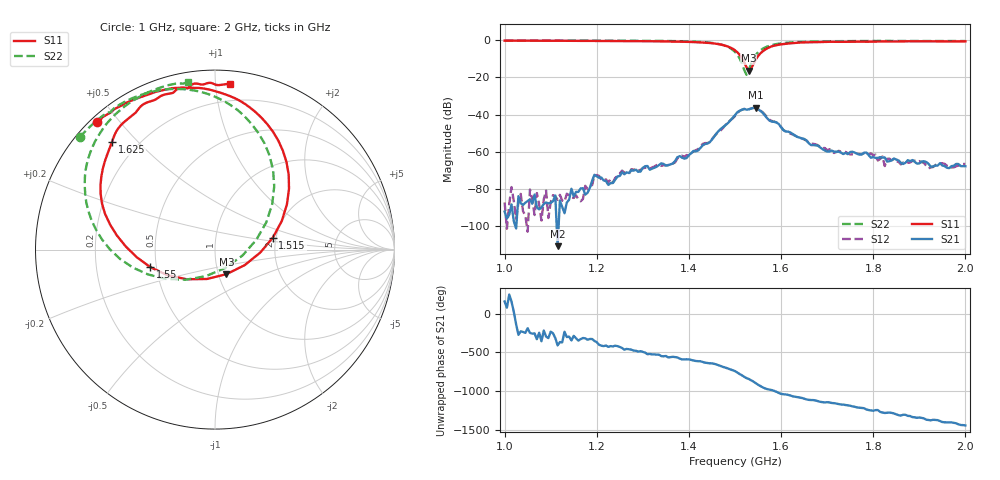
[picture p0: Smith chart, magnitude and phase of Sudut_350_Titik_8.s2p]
# Hz S RI R 50
! CMT, C1220, 16058040, 17.2.0/1
! Date: 14/08/2018 12:09:34
! Data: Format (Calibration Info)
! Freq  S11: Re/Im (F2)  S21: Re/Im (F2)  S12: Re/Im (F2)  S22: Re/Im (F2)
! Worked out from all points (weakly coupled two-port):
!   201 points, 1 GHz to 2 GHz, reference 50 ohm
!   highest |S21| = -36.19 dB at 1.545 GHz (marker M1); lowest = -110.6 dB at 1.115 GHz (marker M2)
!   lowest |S11| = -16.4 dB at 1.53 GHz (marker M3), VSWR 1.36, Z = 54.6 - j15.3 ohm
!   |S11| at or under -10 dB: 1.516 GHz to 1.546 GHz (30.41 MHz wide, 1.99 % of centre)
!   |S22| runs from -18.6 to -0.2 dB; largest |S21 - S12| = 0.00059
!   S11 on the Smith chart (normalised r, x): 1 GHz: 0.02, +0.44; 1.515 GHz: 1.92, +0.29; 1.55 GHz: 0.46, -0.11; 1.625 GHz: 0.11, +0.42; 2 GHz: 0.09, +1.09
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1e9  -0.6548 0.7099  -2.32e-05 9.5e-06  -4.07e-05 -1.71e-05  -0.7535 0.6255
1.115e9  -0.5471 0.7898  1.9e-06 -2.27e-06  4.64e-05 2.27e-05  -0.6677 0.7109
1.17e9  -0.4871 0.8215  7.47e-05 7.58e-05  5.39e-05 9.26e-06  -0.6164 0.7514
1.185e9  -0.4636 0.8308  9.13e-05 5.88e-05  0.000115 4.04e-05  -0.5993 0.7608
1.195e9  -0.4507 0.8354  0.000241 3.04e-05  0.000234 2.26e-05  -0.5868 0.7648
1.225e9  -0.4177 0.8484  4.62e-05 -0.000122  8.9e-05 -0.00012  -0.5663 0.7838
1.255e9  -0.3633 0.8671  2.92e-05 -0.000283  5.08e-05 -0.000312  -0.5288 0.809
1.335e9  -0.2306 0.9002  -0.000436 -7.9e-05  -0.000454 -1.44e-05  -0.3997 0.866
1.45e9  0.1716 0.8084  0.000457 0.00208  0.000601 0.00212  0.0237 0.8408
1.5e9  0.4124 0.3385  0.0089 -0.0038  0.00835 -0.00368  0.33 0.353
1.515e9  0.3224 0.0669  0.00301 -0.0132  0.00333 -0.0132  0.2303 0.0547
1.525e9  0.1655 -0.0865  -0.00542 -0.0125  -0.00543 -0.0125  0.0581 -0.1021
1.53e9  0.0639 -0.1369  -0.00791 -0.0114  -0.008 -0.0114  -0.0511 -0.148
1.545e9  -0.2649 -0.1423  -0.0155 -0.000264  -0.0152 -0.000582  -0.3743 -0.138
1.55e9  -0.3595 -0.0982  -0.0134 0.00459  -0.0135 0.00403  -0.4591 -0.0993
1.625e9  -0.5742 0.5984  0.00298 0.000618  0.00285 0.000733  -0.7017 0.5216
1.67e9  -0.4626 0.7454  0.00121 -0.000925  0.0013 -0.00102  -0.6248 0.6731
1.82e9  -0.189 0.901  -0.000668 0.00022  -0.000747 0.00012  -0.3955 0.8647
1.825e9  -0.179 0.9013  -0.000648 0.000292  -0.000411 7.06e-05  -0.3888 0.868
1.835e9  -0.1611 0.8992  -0.000535 0.000176  -0.000557 0.000358  -0.3756 0.8746
1.92e9  -0.0417 0.9274  0.000202 0.000434  0.000151 0.00033  -0.2567 0.9169
2e9  0.0852 0.9214  0.000411 -4e-05  0.000476 -1.83e-05  -0.1508 0.9334
